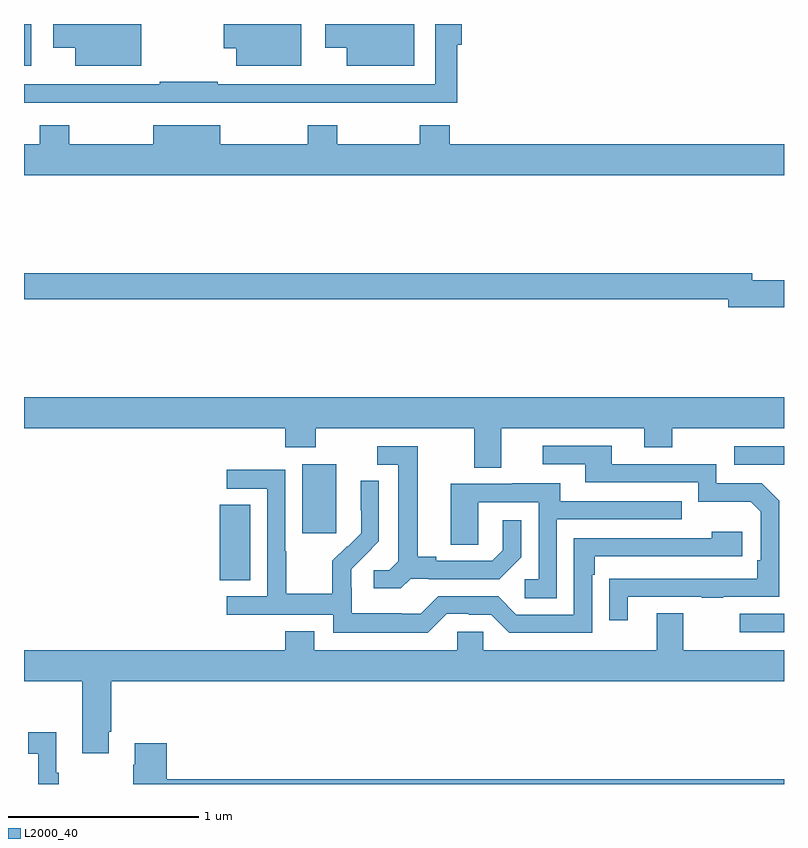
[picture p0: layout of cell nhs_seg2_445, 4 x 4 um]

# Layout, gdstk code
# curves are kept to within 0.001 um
import gdstk
lib = gdstk.Library(unit=1e-6, precision=1e-09)
def R(c, l, rs):  # rectangles x0, y0, x1, y1
    for r in rs: c.add(gdstk.rectangle(r[:2], r[2:], *l))
def P(c, l, *ps):  # polygons
    for p in ps: c.add(gdstk.Polygon(p, *l))
L2000_40 = (2000, 40)

nhs_seg2_445 = lib.new_cell('nhs_seg2_445')
R(nhs_seg2_445, L2000_40, [(136.767,610.599,137,610.695), (134.03,610.873,134.191,611.27), (134.465,611.121,134.644,611.482), (136.737,611.481,137,611.577), (133,613.58,133.039,613.8)])
P(nhs_seg2_445, L2000_40, [(133.583,613.386),(134.128,613.386),(134.128,613.385),(134.405,613.385),(134.405,613.386),(134.737,613.386),(134.737,613.385),(134.993,613.385),(134.993,613.386),(135.281,613.386),(135.281,613.691),(135.305,613.691),(135.305,613.8),(135.165,613.8),(135.165,613.482),(134.021,613.482),(134.021,613.495),(133.714,613.495),(133.714,613.482),(133,613.482),(133,613.386),(133.327,613.386),(133.327,613.385),(133.583,613.385)],
  [(135.055,613.8),(134.585,613.8),(134.585,613.676),(134.699,613.676),(134.699,613.58),(135.055,613.58)],
  [(134.458,613.8),(134.052,613.8),(134.052,613.673),(134.117,613.673),(134.117,613.58),(134.458,613.58)],
  [(133.618,613.8),(133.275,613.8),(133.275,613.798),(133.154,613.798),(133.154,613.676),(133.271,613.676),(133.271,613.58),(133.618,613.58)],
  [(137,613.168),(135.242,613.168),(135.242,613.267),(135.082,613.267),(135.082,613.168),(134.649,613.168),(134.649,613.267),(134.494,613.267),(134.494,613.168),(134.032,613.168),(134.032,613.267),(133.679,613.267),(133.679,613.168),(133.239,613.168),(133.239,613.267),(133.084,613.267),(133.084,613.168),(133,613.168),(133,613.004),(137,613.004)],
  [(137,612.452),(136.834,612.452),(136.834,612.488),(133,612.488),(133,612.352),(136.706,612.352),(136.706,612.31),(137,612.31)],
  [(135.511,611.672),(136.265,611.672),(136.265,611.573),(136.413,611.573),(136.413,611.672),(137,611.672),(137,611.836),(133,611.836),(133,611.672),(134.375,611.672),(134.375,611.573),(134.535,611.573),(134.535,611.672),(135.371,611.672),(135.371,611.464),(135.511,611.464)],
  [(136.177,610.785),(136.567,610.785),(136.567,610.78),(136.679,610.78),(136.679,610.785),(136.974,610.785),(136.974,611.292),(136.884,611.382),(136.644,611.382),(136.644,611.484),(136.093,611.484),(136.093,611.58),(135.729,611.58),(135.729,611.484),(135.953,611.484),(135.953,611.388),(136.548,611.388),(136.548,611.285),(136.825,611.285),(136.878,611.232),(136.878,610.978),(136.858,610.978),(136.858,610.881),(136.081,610.88),(136.081,610.662),(136.177,610.662)],
  [(135.036,610.881),(135.13,610.881),(135.13,610.878),(135.502,610.878),(135.618,610.994),(135.618,611.188),(135.521,611.188),(135.521,611.031),(135.464,610.974),(135.169,610.974),(135.169,610.997),(135.073,610.997),(135.073,611.577),(134.859,611.577),(134.859,611.481),(134.969,611.481),(134.969,610.973),(134.922,610.926),(134.841,610.926),(134.841,610.829),(134.984,610.829)],
  [(135.225,610.695),(135.341,610.695),(135.341,610.692),(135.459,610.692),(135.555,610.596),(135.99,610.596),(135.99,610.901),(136.003,610.901),(136.003,610.998),(136.78,610.998),(136.78,611.128),(136.619,611.128),(136.619,611.094),(135.894,611.094),(135.894,610.692),(135.591,610.692),(135.495,610.788),(135.18,610.788),(135.087,610.695),(134.987,610.695),(134.987,610.699),(134.724,610.699),(134.724,610.833),(134.722,610.833),(134.722,610.93),(134.868,611.078),(134.868,611.396),(134.772,611.396),(134.772,611.242),(134.774,611.242),(134.774,611.12),(134.703,611.049),(134.7,611.052),(134.623,610.975),(134.623,610.801),(134.379,610.801),(134.379,611.024),(134.376,611.024),(134.376,611.454),(134.067,611.454),(134.067,611.355),(134.28,611.355),(134.28,610.788),(134.067,610.788),(134.067,610.692),(134.628,610.692),(134.628,610.595),(135.125,610.595)],
  [(135.804,611.193),(136.463,611.193),(136.463,611.289),(135.823,611.289),(135.823,611.383),(135.569,611.383),(135.569,611.379),(135.245,611.379),(135.245,611.059),(135.39,611.059),(135.39,611.283),(135.708,611.283),(135.708,610.878),(135.636,610.878),(135.636,610.777),(135.804,610.777)],
  [(133.447,610.075),(133.46,610.075),(133.46,610.34),(137,610.34),(137,610.504),(136.471,610.504),(136.471,610.699),(136.331,610.699),(136.331,610.504),(135.417,610.504),(135.417,610.602),(135.279,610.602),(135.279,610.504),(134.527,610.504),(134.527,610.603),(134.375,610.603),(134.375,610.504),(133,610.504),(133,610.34),(133.307,610.34),(133.307,609.963),(133.447,609.963)],
  [(133.183,609.859),(133.171,609.859),(133.171,610.072),(133.023,610.072),(133.023,609.959),(133.074,609.959),(133.074,609.8),(133.183,609.8)],
  [(137,609.824),(133.751,609.824),(133.751,610.015),(133.583,610.015),(133.583,609.902),(133.576,609.902),(133.576,609.8),(137,609.8)])

lib.write_gds('nhs_seg2_445.gds')
